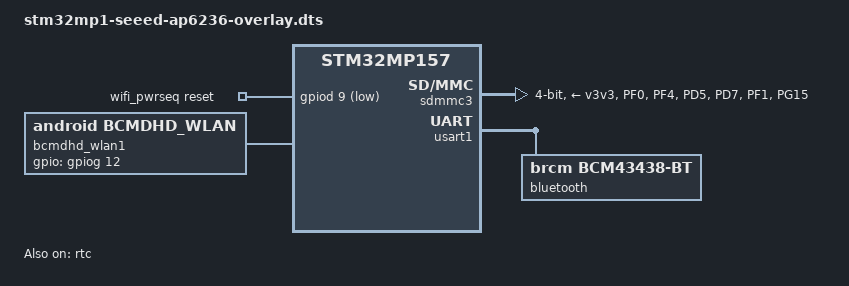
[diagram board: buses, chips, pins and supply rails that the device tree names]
/*
 * Device tree overlay for ap6236
 */
#include "dt-bindings/gpio/gpio.h"
#include "dt-bindings/pinctrl/stm32-pinfunc.h"
#include <dt-bindings/rtc/rtc-stm32.h>
/dts-v1/;
/plugin/;

/ {
	
	compatible = "seeed,npi-stm32mp1", "st,stm32mp157";
	fragment@0 {
		target = <&pinctrl>;
		__overlay__ {
			// sdmmc3 pin configure
			sdmmc3_b4_pins_s: sdmmc3-b4-1 {
				pins1 {
					pinmux = <STM32_PINMUX('F', 0, AF9)>, /* SDMMC3_D0 */
						<STM32_PINMUX('F', 4, AF9)>, /* SDMMC3_D1 */
						<STM32_PINMUX('D', 5, AF10)>, /* SDMMC3_D2 */
						<STM32_PINMUX('D', 7, AF10)>, /* SDMMC3_D3 */
						<STM32_PINMUX('F', 1, AF9)>; /* SDMMC3_CMD */
					slew-rate = <1>;
					drive-push-pull;
					bias-pull-up;
				};
				pins2 {
					pinmux = <STM32_PINMUX('G', 15, AF10)>; /* SDMMC3_CLK */
					slew-rate = <2>;
					drive-push-pull;
					bias-pull-up;
				};
			};

			sdmmc3_b4_od_pins_s: sdmmc3-b4-od-1 {
				pins1 {
					pinmux = <STM32_PINMUX('F', 0, AF9)>, /* SDMMC3_D0 */
							<STM32_PINMUX('F', 4, AF9)>, /* SDMMC3_D1 */
							<STM32_PINMUX('D', 5, AF10)>, /* SDMMC3_D2 */
							<STM32_PINMUX('D', 7, AF10)>; /* SDMMC3_D3 */
					slew-rate = <1>;
					drive-push-pull;
					bias-pull-up;
				};
				pins2 {
					pinmux = <STM32_PINMUX('G', 15, AF10)>; /* SDMMC3_CLK */
					slew-rate = <2>;
					drive-push-pull;
					bias-pull-up;
				};
				pins3 {
					pinmux = <STM32_PINMUX('F', 1, AF9)>; /* SDMMC2_CMD */
					slew-rate = <1>;
					drive-open-drain;
					bias-pull-up;
				};
			};

			sdmmc3_b4_sleep_pins_s: sdmmc3-b4-sleep-1 {
				pins {
					pinmux = <STM32_PINMUX('F', 0, ANALOG)>, /* SDMMC3_D0 */
							<STM32_PINMUX('F', 4, ANALOG)>, /* SDMMC3_D1 */
							<STM32_PINMUX('D', 5, ANALOG)>, /* SDMMC3_D2 */
							<STM32_PINMUX('D', 7, ANALOG)>, /* SDMMC3_D3 */
							<STM32_PINMUX('G', 15, ANALOG)>, /* SDMMC3_CK */
							<STM32_PINMUX('F', 1, ANALOG)>; /* SDMMC3_CMD */
				};
			};

			// bluetooth pin configure
			btreg_s: bt_reg_on-1 {
				reset_gpio {
					pinmux = <STM32_PINMUX('H', 9, GPIO)>;
					drive-push-pull;
					bias-pull-up;
					output-high;
					slew-rate = <0>;
				};
				wake_gpio {
					pinmux = <STM32_PINMUX('H', 8, GPIO)>;
					drive-push-pull;
					bias-pull-up;
					output-high;
					slew-rate = <0>;
				};
				wake_host_gpio {
					pinmux = <STM32_PINMUX('H', 3, GPIO)>;
					drive-push-pull;
					bias-pull-up;
					output-high;
					slew-rate = <0>;
				};
			};
			rtc_out2_rmp_pins_a: rtc-out2-rmp-pins@0 {
				pins {
					pinmux = <STM32_PINMUX('I', 8, ANALOG)>; /* RTC_OUT2_RMP */
				};
			};
		};
	};

	fragment@1 {
		target = <&pinctrl_z>;
		__overlay__ {
			// usart1 pin configure
			usart1_pins_s: usart1-0 {
				pins1 {
					pinmux = <STM32_PINMUX('Z', 7, AF7)>, /* USART1_TX */
						<STM32_PINMUX('Z', 5, AF7)>; /* USART1_RTS */
					bias-disable;
					drive-push-pull;
					slew-rate = <0>;
				};
				pins2 {
					pinmux = <STM32_PINMUX('Z', 6, AF7)>, /* USART1_RX */
						<STM32_PINMUX('Z', 3, AF7)>; /* USART1_CTS_NSS */
					bias-disable;
				};
			};

			usart1_idle_pins_s: usart1-idle-0 {
				pins1 {
					pinmux = <STM32_PINMUX('Z', 7, ANALOG)>, /* USART1_TX */
						<STM32_PINMUX('Z', 5, ANALOG)>, /* USART1_RTS */
						<STM32_PINMUX('Z', 3, ANALOG)>; /* USART1_CTS_NSS */
				};
				pins2 {
					pinmux = <STM32_PINMUX('Z', 6, AF7)>; /* USART1_RX */
					bias-disable;
				};
			};

			usart1_sleep_pins_s: usart1-sleep-0 {
				pins {
					pinmux = <STM32_PINMUX('Z', 7, ANALOG)>, /* USART1_TX */
						<STM32_PINMUX('Z', 5, ANALOG)>, /* USART1_RTS */
						<STM32_PINMUX('Z', 6, ANALOG)>, /* USART1_RX */
						<STM32_PINMUX('Z', 3, ANALOG)>; /* USART1_CTS_NSS */
				};
			};
		};
	};

	fragment@10 {
		target-path = "/";
		__overlay__ {
			wifi_pwrseq: wifi-pwrseq {
				compatible = "mmc-pwrseq-simple";
				reset-gpios = <&gpiod 9 GPIO_ACTIVE_LOW>;
				post-power-on-delay-ms = <1>;
			};
			bcmdhd_wlan1: bcmdhd_wlan@1 {
				compatible = "android,bcmdhd_wlan";
				gpios = <&gpiog 12 GPIO_ACTIVE_HIGH>;
			};
		};
	};
	/* Wifi */
	fragment@20 {
		target = <&sdmmc3>;
		__overlay__ {
			#address-cells = <1>;
			#size-cells = <0>;
			/* arm,primecell-periphid = <0x10153180>; */
			pinctrl-names = "default", "opendrain", "sleep";
			pinctrl-0 = <&sdmmc3_b4_pins_s>;
			pinctrl-1 = <&sdmmc3_b4_od_pins_s>;
			pinctrl-2 = <&sdmmc3_b4_sleep_pins_s>;
			/*
			non-removable;
			broken-cd;
			st,neg-edge;
			st,sig-dir;
			*/
			bus-width = <4>;
			vmmc-supply = <&v3v3>;
			mmc-pwrseq = <&wifi_pwrseq>;
			keep-power-in-suspend;
			supports-sdio;
			status = "okay";
		};
	};

	/* Bluetooth */
	fragment@30 {
		target = <&usart1>;
		__overlay__ {
			pinctrl-names = "default", "sleep", "idle";
			pinctrl-0 = <&usart1_pins_s>;
			pinctrl-1 = <&usart1_sleep_pins_s>;
			pinctrl-2 = <&usart1_idle_pins_s>;
			st,hw-flow-ctrl;
			status = "okay";

			bluetooth {
				pinctrl-names = "default";
				pinctrl-0 = <&btreg_s>;
				compatible = "brcm,bcm43438-bt";
				max-speed = <3000000>;
			};
		};
	};
    
	/* config RTC to provide clk of ap6263 */
	fragment@40 {
		target = <&rtc>;
		__overlay__ {
			status = "okay";
			st,lsco = <RTC_OUT2_RMP>;
			pinctrl-names = "default";
			pinctrl-0 = <&rtc_out2_rmp_pins_a>;
		};
	};
};

